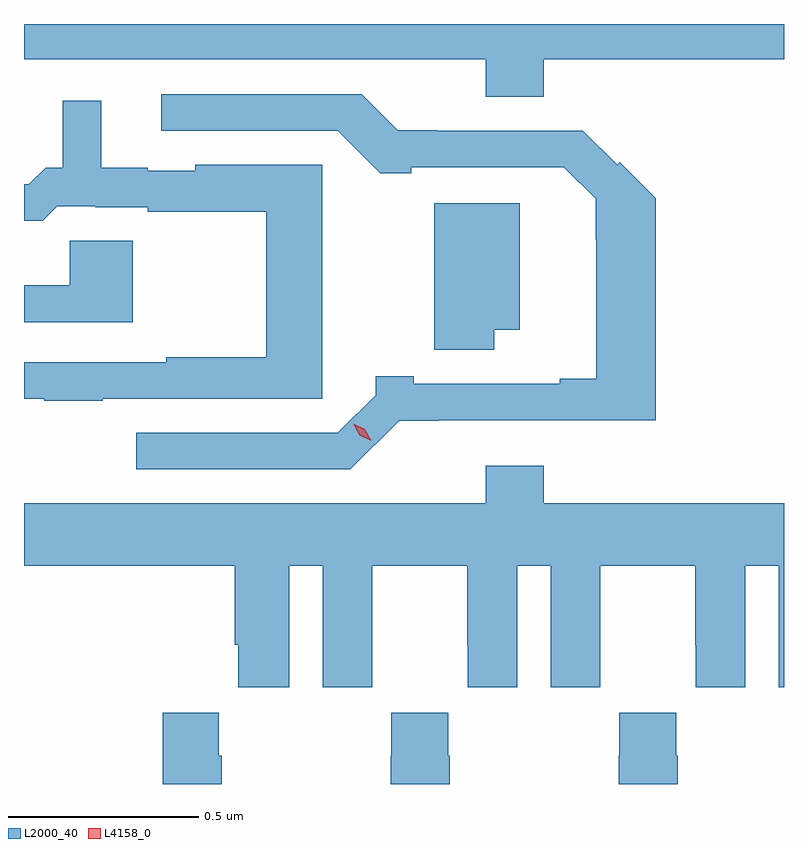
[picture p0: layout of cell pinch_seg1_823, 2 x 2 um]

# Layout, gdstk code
import gdstk
lib = gdstk.Library(unit=1e-6, precision=1e-09)
def P(c, l, *ps):  # polygons
    for p in ps: c.add(gdstk.Polygon(p, *l))
L2000_40 = (2000, 40)
L4158_0 = (4158, 0)

pinch_seg1_823 = lib.new_cell('pinch_seg1_823')
P(pinch_seg1_823, L2000_40, [(436.028,546.404),(436.66,546.404),(436.66,546.497),(434.66,546.497),(434.66,546.404),(435.875,546.404),(435.875,546.305),(436.028,546.305)],
  [(435.647,545.453),(435.751,545.453),(435.751,545.454),(436.322,545.454),(436.322,546.039),(436.228,546.133),(436.221,546.126),(436.131,546.216),(435.748,546.216),(435.748,546.218),(435.644,546.218),(435.549,546.312),(435.021,546.312),(435.021,546.216),(435.486,546.216),(435.598,546.104),(435.679,546.104),(435.679,546.12),(436.08,546.12),(436.164,546.037),(436.164,545.93),(436.166,545.93),(436.166,545.563),(436.07,545.563),(436.07,545.55),(435.685,545.55),(435.685,545.57),(435.585,545.57),(435.585,545.52),(435.486,545.421),(434.955,545.421),(434.955,545.325),(435.519,545.325)],
  [(434.867,545.511),(435.445,545.511),(435.445,546.127),(435.111,546.127),(435.111,546.111),(434.985,546.111),(434.985,546.119),(434.863,546.119),(434.863,546.295),(434.762,546.295),(434.762,546.119),(434.717,546.119),(434.673,546.075),(434.66,546.075),(434.66,545.979),(434.709,545.979),(434.748,546.018),(434.848,546.018),(434.848,546.015),(434.985,546.015),(434.985,546.003),(435.298,546.003),(435.298,545.62),(435.034,545.62),(435.034,545.607),(434.66,545.607),(434.66,545.511),(434.713,545.511),(434.713,545.506),(434.867,545.506)],
  [(435.898,545.693),(435.964,545.693),(435.964,546.025),(435.74,546.025),(435.74,545.64),(435.898,545.64)],
  [(434.946,545.926),(434.78,545.926),(434.78,545.809),(434.66,545.809),(434.66,545.712),(434.946,545.712)],
  [(434.66,545.072),(435.215,545.072),(435.215,544.864),(435.224,544.864),(435.224,544.752),(435.358,544.752),(435.358,545.072),(435.446,545.072),(435.446,544.752),(435.576,544.752),(435.576,544.864),(435.577,544.864),(435.577,545.072),(435.827,545.072),(435.827,544.864),(435.828,544.864),(435.828,544.752),(435.958,544.752),(435.958,545.072),(436.046,545.072),(436.046,544.752),(436.176,544.752),(436.176,544.864),(436.177,544.864),(436.177,545.072),(436.427,545.072),(436.427,544.864),(436.428,544.864),(436.428,544.752),(436.558,544.752),(436.558,545.072),(436.646,545.072),(436.646,544.752),(436.66,544.752),(436.66,545.236),(436.028,545.236),(436.028,545.335),(435.875,545.335),(435.875,545.236),(434.66,545.236)],
  [(435.18,544.571),(435.173,544.571),(435.173,544.684),(435.025,544.684),(435.025,544.497),(435.18,544.497)],
  [(435.78,544.571),(435.777,544.571),(435.777,544.684),(435.627,544.684),(435.627,544.571),(435.625,544.571),(435.625,544.497),(435.78,544.497)],
  [(436.38,544.571),(436.377,544.571),(436.377,544.684),(436.227,544.684),(436.227,544.571),(436.225,544.571),(436.225,544.497),(436.38,544.497)])
P(pinch_seg1_823, L4158_0, [(435.574,545.4),(435.543,545.415),(435.526,545.445),(435.526,545.445),(435.526,545.445),(435.557,545.43),(435.574,545.4),(435.574,545.4)])

lib.write_gds('pinch_seg1_823.gds')
